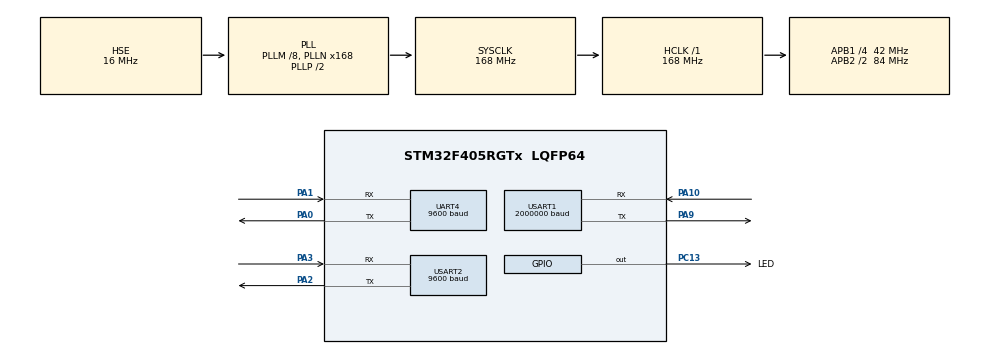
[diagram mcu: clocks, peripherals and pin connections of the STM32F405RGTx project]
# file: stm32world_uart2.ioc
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Dma.Request0=UART4_RX
Dma.UART4_RX.0.Direction=DMA_PERIPH_TO_MEMORY
Dma.UART4_RX.0.FIFOMode=DMA_FIFOMODE_DISABLE
Dma.UART4_RX.0.Instance=DMA1_Stream2
Dma.UART4_RX.0.MemDataAlignment=DMA_MDATAALIGN_BYTE
Dma.UART4_RX.0.MemInc=DMA_MINC_ENABLE
Dma.UART4_RX.0.Mode=DMA_CIRCULAR
Dma.UART4_RX.0.PeriphDataAlignment=DMA_PDATAALIGN_BYTE
Dma.UART4_RX.0.PeriphInc=DMA_PINC_DISABLE
Dma.UART4_RX.0.Priority=DMA_PRIORITY_LOW
Mcu.Family=STM32F4
Mcu.Name=STM32F405RGTx
Mcu.Package=LQFP64
NVIC.DMA1_Stream2_IRQn=true\:0\:0\:false\:false\:true\:false\:true\:true
NVIC.PriorityGroup=NVIC_PRIORITYGROUP_4
NVIC.TIM6_DAC_IRQn=true\:0\:0\:false\:false\:true\:true\:true\:true
NVIC.UART4_IRQn=true\:0\:0\:false\:false\:true\:true\:true\:true
PA0-WKUP.Mode=Asynchronous
PA0-WKUP.Signal=UART4_TX
PA1.Mode=Asynchronous
PA1.Signal=UART4_RX
PA10.Mode=Asynchronous
PA10.Signal=USART1_RX
PA13.Mode=Trace_Asynchronous_SW
PA13.Signal=SYS_JTMS-SWDIO
PA14.Mode=Trace_Asynchronous_SW
PA14.Signal=SYS_JTCK-SWCLK
PA2.Mode=Asynchronous
PA2.Signal=USART2_TX
PA3.Mode=Asynchronous
PA3.Signal=USART2_RX
PA9.Mode=Asynchronous
PA9.Signal=USART1_TX
PB3.Mode=Trace_Asynchronous_SW
PB3.Signal=SYS_JTDO-SWO
PC13-ANTI_TAMP.GPIO_Label=LED
PC13-ANTI_TAMP.GPIO_ModeDefaultOutputPP=GPIO_MODE_OUTPUT_OD
PC13-ANTI_TAMP.GPIO_PuPd=GPIO_NOPULL
PC13-ANTI_TAMP.PinState=GPIO_PIN_SET
PC13-ANTI_TAMP.Signal=GPIO_Output
PH0-OSC_IN.Mode=HSE-External-Oscillator
PH0-OSC_IN.Signal=RCC_OSC_IN
PH1-OSC_OUT.Mode=HSE-External-Oscillator
PH1-OSC_OUT.Signal=RCC_OSC_OUT
ProjectManager.HeapSize=0x200
ProjectManager.StackSize=0x400
ProjectManager.TargetToolchain=STM32CubeIDE
RCC.48MHZClocksFreq_Value=84000000
RCC.AHBFreq_Value=168000000
RCC.APB1CLKDivider=RCC_HCLK_DIV4
RCC.APB1Freq_Value=42000000
RCC.APB1TimFreq_Value=84000000
RCC.APB2CLKDivider=RCC_HCLK_DIV2
RCC.APB2Freq_Value=84000000
RCC.APB2TimFreq_Value=168000000
RCC.CortexFreq_Value=168000000
RCC.HCLKFreq_Value=168000000
RCC.HSE_VALUE=16000000
RCC.HSI_VALUE=16000000
RCC.LSE_VALUE=32768
RCC.PLLM=8
RCC.PLLN=168
RCC.PLLSourceVirtual=RCC_PLLSOURCE_HSE
RCC.SYSCLKFreq_VALUE=168000000
RCC.SYSCLKSource=RCC_SYSCLKSOURCE_PLLCLK
RCC.VCOOutputFreq_Value=336000000
TIM6.Period=30000 - 1
TIM6.Prescaler=84 - 1
UART4.BaudRate=9600
UART4.VirtualMode=Asynchronous
USART1.BaudRate=2000000
USART1.VirtualMode=VM_ASYNC
USART2.BaudRate=9600
USART2.VirtualMode=VM_ASYNC
VP_TIM6_VS_ClockSourceINT.Mode=Enable_Timer
board=custom

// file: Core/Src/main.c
/* USER CODE BEGIN Header */
/**
 ******************************************************************************
 * @file           : main.c
 * @brief          : Main program body
 ******************************************************************************
 * @attention
 *
 * Copyright (c) 2024 Lars Boegild Thomsen <lth@stm32world.com>
 * All rights reserved.
 *
 * This software is licensed under terms that can be found in the LICENSE file
 * in the root directory of this software component.
 * If no LICENSE file comes with this software, it is provided AS-IS.
 *
 ******************************************************************************
 */
/* USER CODE END Header */
#include "main.h"

/* USER CODE BEGIN Includes */
#include <stdio.h>
#include <string.h>
/* USER CODE END Includes */

TIM_HandleTypeDef htim6;

UART_HandleTypeDef huart4;
UART_HandleTypeDef huart1;
UART_HandleTypeDef huart2;
DMA_HandleTypeDef hdma_uart4_rx;

void SystemClock_Config(void);
static void MX_GPIO_Init(void);
static void MX_DMA_Init(void);
static void MX_USART1_UART_Init(void);
static void MX_UART4_Init(void);
static void MX_USART2_UART_Init(void);
static void MX_TIM6_Init(void);

/* USER CODE BEGIN 0 */

inline uint32_t HAL_GetTick(void) {
    return uwTick;
}

// Send printf to uart1
int _write(int fd, char *ptr, int len) {
    HAL_StatusTypeDef hstatus;

    if (fd == 1 || fd == 2) {
        hstatus = HAL_UART_Transmit(&huart1, (uint8_t*) ptr, len,
        HAL_MAX_DELAY);
        if (hstatus == HAL_OK)
            return len;
        else
            return -1;
    }
    return -1;
}

void HAL_TIM_PeriodElapsedCallback(TIM_HandleTypeDef *htim) {
    if (htim->Instance == TIM6) {
        HAL_GPIO_WritePin(LED_GPIO_Port, LED_Pin, GPIO_PIN_SET); // Off LED
        HAL_TIM_Base_Stop(&htim6); // Kill the Timer
    }
}

void led_flash() {
    HAL_GPIO_WritePin(LED_GPIO_Port, LED_Pin, GPIO_PIN_RESET);
    if (__HAL_TIM_GET_COUNTER(&htim6) == 1) {
        HAL_TIM_Base_Start_IT(&htim6);
    } else { // Timer is already running
        __HAL_TIM_SET_COUNTER(&htim6, 1);
    }
}

void process_character(char ch) {
    static uint32_t strlen = 0;
    switch (ch) {
    case '\0':
        printf("Received    : %s\n", receive_buffer);
        receive_buffer[0] = '\0';
        strlen = 0;
        break;
    default:
        if (strlen < BUFFER_SIZE) {
            strncat((char*) &receive_buffer, &ch, 1); // Danger, Will Robinson!  this could go horribly wrong!
            ++strlen;
        }

    }
}

/* USER CODE END 0 */

int main(void)
{

    /* MCU Configuration--------------------------------------------------------*/

    /* Reset of all peripherals, Initializes the Flash interface and the Systick. */
    HAL_Init();

    /* Configure the system clock */
    SystemClock_Config();

    /* Initialize all configured peripherals */
    MX_GPIO_Init();
    MX_DMA_Init();
    MX_USART1_UART_Init();
    MX_UART4_Init();
    MX_USART2_UART_Init();
    MX_TIM6_Init();

    /* Infinite loop */
    /* USER CODE BEGIN WHILE */
    while (1)
    {

        HAL_UART_Receive

        /* USER CODE END WHILE */

    }
}

void SystemClock_Config(void)
{
    RCC_OscInitTypeDef RCC_OscInitStruct = { 0 };
    RCC_ClkInitTypeDef RCC_ClkInitStruct = { 0 };

    /** Configure the main internal regulator output voltage
     */
    __HAL_RCC_PWR_CLK_ENABLE();
    __HAL_PWR_VOLTAGESCALING_CONFIG(PWR_REGULATOR_VOLTAGE_SCALE1);

    /** Initializes the RCC Oscillators according to the specified parameters
     * in the RCC_OscInitTypeDef structure.
     */
    RCC_OscInitStruct.OscillatorType = RCC_OSCILLATORTYPE_HSE;
    RCC_OscInitStruct.HSEState = RCC_HSE_ON;
    RCC_OscInitStruct.PLL.PLLState = RCC_PLL_ON;
    RCC_OscInitStruct.PLL.PLLSource = RCC_PLLSOURCE_HSE;
    RCC_OscInitStruct.PLL.PLLM = 8;
    RCC_OscInitStruct.PLL.PLLN = 168;
    RCC_OscInitStruct.PLL.PLLP = RCC_PLLP_DIV2;
    RCC_OscInitStruct.PLL.PLLQ = 4;
    if (HAL_RCC_OscConfig(&RCC_OscInitStruct) != HAL_OK)
            {
        Error_Handler();
    }

    /** Initializes the CPU, AHB and APB buses clocks
     */
    RCC_ClkInitStruct.ClockType = RCC_CLOCKTYPE_HCLK | RCC_CLOCKTYPE_SYSCLK
            | RCC_CLOCKTYPE_PCLK1 | RCC_CLOCKTYPE_PCLK2;
    RCC_ClkInitStruct.SYSCLKSource = RCC_SYSCLKSOURCE_PLLCLK;
    RCC_ClkInitStruct.AHBCLKDivider = RCC_SYSCLK_DIV1;
    RCC_ClkInitStruct.APB1CLKDivider = RCC_HCLK_DIV4;
    RCC_ClkInitStruct.APB2CLKDivider = RCC_HCLK_DIV2;

    if (HAL_RCC_ClockConfig(&RCC_ClkInitStruct, FLASH_LATENCY_5) != HAL_OK)
            {
        Error_Handler();
    }
}

static void MX_TIM6_Init(void)
{

    TIM_MasterConfigTypeDef sMasterConfig = { 0 };

    htim6.Instance = TIM6;
    htim6.Init.Prescaler = 84 - 1;
    htim6.Init.CounterMode = TIM_COUNTERMODE_UP;
    htim6.Init.Period = 30000 - 1;
    htim6.Init.AutoReloadPreload = TIM_AUTORELOAD_PRELOAD_DISABLE;
    if (HAL_TIM_Base_Init(&htim6) != HAL_OK)
            {
        Error_Handler();
    }
    sMasterConfig.MasterOutputTrigger = TIM_TRGO_RESET;
    sMasterConfig.MasterSlaveMode = TIM_MASTERSLAVEMODE_DISABLE;
    if (HAL_TIMEx_MasterConfigSynchronization(&htim6, &sMasterConfig) != HAL_OK)
            {
        Error_Handler();
    }

}

static void MX_UART4_Init(void)
{

    huart4.Instance = UART4;
    huart4.Init.BaudRate = 9600;
    huart4.Init.WordLength = UART_WORDLENGTH_8B;
    huart4.Init.StopBits = UART_STOPBITS_1;
    huart4.Init.Parity = UART_PARITY_NONE;
    huart4.Init.Mode = UART_MODE_TX_RX;
    huart4.Init.HwFlowCtl = UART_HWCONTROL_NONE;
    huart4.Init.OverSampling = UART_OVERSAMPLING_16;
    if (HAL_UART_Init(&huart4) != HAL_OK)
            {
        Error_Handler();
    }

}

static void MX_USART1_UART_Init(void)
{

    huart1.Instance = USART1;
    huart1.Init.BaudRate = 2000000;
    huart1.Init.WordLength = UART_WORDLENGTH_8B;
    huart1.Init.StopBits = UART_STOPBITS_1;
    huart1.Init.Parity = UART_PARITY_NONE;
    huart1.Init.Mode = UART_MODE_TX_RX;
    huart1.Init.HwFlowCtl = UART_HWCONTROL_NONE;
    huart1.Init.OverSampling = UART_OVERSAMPLING_16;
    if (HAL_UART_Init(&huart1) != HAL_OK)
            {
        Error_Handler();
    }

}

static void MX_USART2_UART_Init(void)
{

    huart2.Instance = USART2;
    huart2.Init.BaudRate = 9600;
    huart2.Init.WordLength = UART_WORDLENGTH_8B;
    huart2.Init.StopBits = UART_STOPBITS_1;
    huart2.Init.Parity = UART_PARITY_NONE;
    huart2.Init.Mode = UART_MODE_TX_RX;
    huart2.Init.HwFlowCtl = UART_HWCONTROL_NONE;
    huart2.Init.OverSampling = UART_OVERSAMPLING_16;
    if (HAL_UART_Init(&huart2) != HAL_OK)
            {
        Error_Handler();
    }

}

static void MX_DMA_Init(void)
{

    /* DMA controller clock enable */
    __HAL_RCC_DMA1_CLK_ENABLE();

    /* DMA interrupt init */
    /* DMA1_Stream2_IRQn interrupt configuration */
    HAL_NVIC_SetPriority(DMA1_Stream2_IRQn, 0, 0);
    HAL_NVIC_EnableIRQ(DMA1_Stream2_IRQn);

}

static void MX_GPIO_Init(void)
{
    GPIO_InitTypeDef GPIO_InitStruct = { 0 };

    /* GPIO Ports Clock Enable */
    __HAL_RCC_GPIOC_CLK_ENABLE();
    __HAL_RCC_GPIOH_CLK_ENABLE();
    __HAL_RCC_GPIOA_CLK_ENABLE();
    __HAL_RCC_GPIOB_CLK_ENABLE();

    /*Configure GPIO pin Output Level */
    HAL_GPIO_WritePin(LED_GPIO_Port, LED_Pin, GPIO_PIN_SET);

    /*Configure GPIO pin : LED_Pin */
    GPIO_InitStruct.Pin = LED_Pin;
    GPIO_InitStruct.Mode = GPIO_MODE_OUTPUT_OD;
    GPIO_InitStruct.Pull = GPIO_NOPULL;
    GPIO_InitStruct.Speed = GPIO_SPEED_FREQ_LOW;
    HAL_GPIO_Init(LED_GPIO_Port, &GPIO_InitStruct);

}

void Error_Handler(void)
{
    __disable_irq();
    while (1)
    {
    }
}
